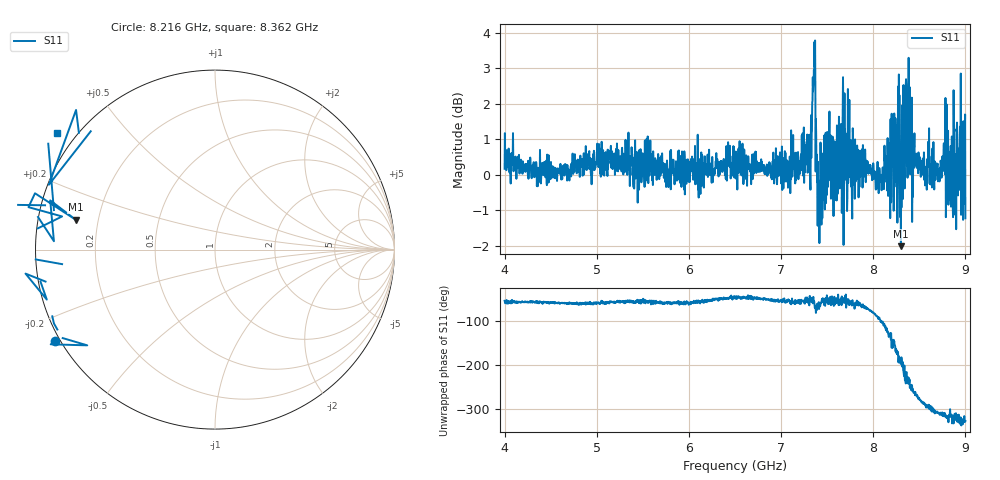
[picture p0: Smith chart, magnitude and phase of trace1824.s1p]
! Created with skrf 1.8.0 (http://scikit-rf.org).
# Hz S RI R 50.0
!freq ReS11 ImS11
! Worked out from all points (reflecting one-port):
!   1601 points, 4 GHz to 9 GHz, reference 50 ohm
!   lowest |S11| = -2.0 dB at 8.3 GHz (marker M1), VSWR 8.65, Z = 5.84 + j5.22 ohm
!   phase of S11 starts at -55 deg and turns -273 deg over the sweep
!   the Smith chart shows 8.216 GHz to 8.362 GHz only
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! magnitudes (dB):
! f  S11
! 4 GHz  0.2
! 4.625 GHz  -0.1
! 5.25 GHz  0.2
! 5.875 GHz  0.1
! 6.5 GHz  0.4
! 7.125 GHz  0.2
! 7.297 GHz  0.9
! 7.356 GHz  2.9
! 7.369 GHz  3.8
! 7.4 GHz  0.4
! 7.422 GHz  -0.5
! 7.525 GHz  1.8
! 7.578 GHz  -0.1
! 7.669 GHz  2.1
! 7.75 GHz  0.0
! 8.075 GHz  0.0
! 8.241 GHz  1.6
! 8.259 GHz  1.4
! 8.3 GHz  -2.0
! 8.316 GHz  0.2
! 8.334 GHz  0.8
! 8.375 GHz  1.1
! 8.412 GHz  0.5
! 8.556 GHz  -0.2
! 8.788 GHz  -1.2
! 8.841 GHz  0.8
! 8.956 GHz  0.1
! 9 GHz  -1.2
